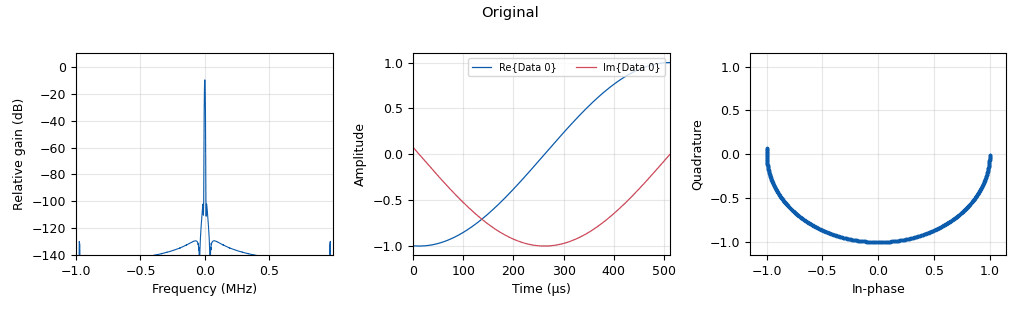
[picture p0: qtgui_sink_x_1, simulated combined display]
<?xml version='1.0' encoding='utf-8'?>
<?grc format='1' created='3.7.10'?>
<flow_graph>
<block>
<key>options</key>
<param><key>id</key><value>test</value></param>
<param><key>category</key><value>Custom</value></param>
<param><key>generate_options</key><value>qt_gui</value></param>
</block>
<block>
<key>variable</key>
<param><key>id</key><value>samp_rate</value></param>
<param><key>value</key><value>2000000</value></param>
</block>
<block>
<key>variable_uhd_device3</key>
<param><key>id</key><value>variable_uhd_device3_0</value></param>
<param><key>dev_addr</key><value>type=x300</value></param>
<param><key>dev_args</key><value>""</value></param>
</block>
<block>
<key>analog_sig_source_x</key>
<param><key>id</key><value>analog_sig_source_x_0</value></param>
<param><key>amp</key><value>1</value></param>
<param><key>freq</key><value>1000</value></param>
<param><key>offset</key><value>0</value></param>
<param><key>type</key><value>complex</value></param>
<param><key>samp_rate</key><value>samp_rate</value></param>
<param><key>waveform</key><value>analog.GR_COS_WAVE</value></param>
</block>
<block>
<key>blocks_null_sink</key>
<param><key>id</key><value>blocks_null_sink_0</value></param>
<param><key>bus_conns</key><value>[[0,],]</value></param>
<param><key>_enabled</key><value>0</value></param>
<param><key>type</key><value>complex</value></param>
</block>
<block>
<key>qtgui_sink_x</key>
<param><key>id</key><value>qtgui_sink_x_0</value></param>
<param><key>bw</key><value>samp_rate</value></param>
<param><key>fc</key><value>0</value></param>
<param><key>freqchangevar</key><value>None</value></param>
<param><key>fftsize</key><value>1024</value></param>
<param><key>name</key><value>"Copy"</value></param>
<param><key>showports</key><value>True</value></param>
<param><key>type</key><value>complex</value></param>
<param><key>wintype</key><value>firdes.WIN_BLACKMAN_hARRIS</value></param>
</block>
<block>
<key>qtgui_sink_x</key>
<param><key>id</key><value>qtgui_sink_x_1</value></param>
<param><key>bw</key><value>samp_rate</value></param>
<param><key>fc</key><value>0</value></param>
<param><key>freqchangevar</key><value>None</value></param>
<param><key>fftsize</key><value>1024</value></param>
<param><key>name</key><value>"Original"</value></param>
<param><key>showports</key><value>True</value></param>
<param><key>type</key><value>complex</value></param>
<param><key>wintype</key><value>firdes.WIN_BLACKMAN_hARRIS</value></param>
</block>
<block>
<key>rfnoc_example_copy</key>
<param><key>id</key><value>rfnoc_example_copy_0</value></param>
<param><key>block_index</key><value>-1</value></param>
<param><key>otw</key><value>sc16</value></param>
<param><key>device_index</key><value>-1</value></param>
<param><key>device3</key><value>variable_uhd_device3_0</value></param>
<param><key>grvlen</key><value>1</value></param>
<param><key>type</key><value>fc32</value></param>
</block>
<block>
<key>uhd_rfnoc_streamer_fft</key>
<param><key>id</key><value>uhd_rfnoc_streamer_fft_0</value></param>
<param><key>device_index</key><value>-1</value></param>
<param><key>_enabled</key><value>0</value></param>
<param><key>magnitude_out</key><value>"COMPLEX"</value></param>
<param><key>block_index</key><value>-1</value></param>
<param><key>fft_size</key><value></value></param>
</block>
<block>
<key>uhd_rfnoc_streamer_fifo</key>
<param><key>id</key><value>uhd_rfnoc_streamer_fifo_0</value></param>
<param><key>otw</key><value>sc16</value></param>
<param><key>device_index</key><value>-1</value></param>
<param><key>block_index</key><value>0</value></param>
<param><key>grvlen</key><value>1</value></param>
<param><key>type</key><value>fc32</value></param>
</block>
<block>
<key>uhd_rfnoc_streamer_fifo</key>
<param><key>id</key><value>uhd_rfnoc_streamer_fifo_1</value></param>
<param><key>otw</key><value>sc16</value></param>
<param><key>device_index</key><value>-1</value></param>
<param><key>_enabled</key><value>0</value></param>
<param><key>block_index</key><value>-1</value></param>
<param><key>grvlen</key><value>1</value></param>
<param><key>type</key><value>fc32</value></param>
</block>
<block>
<key>uhd_rfnoc_streamer_fir</key>
<param><key>id</key><value>uhd_rfnoc_streamer_fir_0</value></param>
<param><key>device_index</key><value>-1</value></param>
<param><key>_enabled</key><value>0</value></param>
<param><key>block_index</key><value>-1</value></param>
<param><key>taps</key><value>[14614,-69849,-203468,-216117,-7860,194302,81889,-216542,-207219,195672,372287,-93615,-558778,-131378,743447,557343,-899809,-1447471,1004420,5224804,7347329,5224804,1004420,-1447471,-899809,557343,743447,-131378,-558778,-93615,372287,195672,-207219,-216542,81889,194302,-7860,-216117,-203468,-69849,14614]</value></param>
</block>
<block>
<key>uhd_rfnoc_streamer_fosphor</key>
<param><key>id</key><value>uhd_rfnoc_streamer_fosphor_0</value></param>
<param><key>alpha</key><value>65280</value></param>
<param><key>decim</key><value>max(2, int(samp_rate / (15 * 64 * fft_size)))</value></param>
<param><key>device_index</key><value>-1</value></param>
<param><key>_enabled</key><value>0</value></param>
<param><key>fft_size</key><value>fft_size</value></param>
<param><key>tdecay</key><value>16384</value></param>
<param><key>offset</key><value>0</value></param>
<param><key>trise</key><value>4096</value></param>
<param><key>scale</key><value>256</value></param>
<param><key>epsilon</key><value>1</value></param>
<param><key>block_index</key><value>-1</value></param>
</block>
<connection><source_block_id>analog_sig_source_x_0</source_block_id><sink_block_id>qtgui_sink_x_1</sink_block_id><source_key>0</source_key><sink_key>0</sink_key></connection>
<connection><source_block_id>analog_sig_source_x_0</source_block_id><sink_block_id>uhd_rfnoc_streamer_fifo_0</sink_block_id><source_key>0</source_key><sink_key>0</sink_key></connection>
<connection><source_block_id>rfnoc_example_copy_0</source_block_id><sink_block_id>blocks_null_sink_0</sink_block_id><source_key>0</source_key><sink_key>0</sink_key></connection>
<connection><source_block_id>rfnoc_example_copy_0</source_block_id><sink_block_id>qtgui_sink_x_0</sink_block_id><source_key>0</source_key><sink_key>0</sink_key></connection>
<connection><source_block_id>uhd_rfnoc_streamer_fifo_0</source_block_id><sink_block_id>rfnoc_example_copy_0</sink_block_id><source_key>0</source_key><sink_key>0</sink_key></connection>
</flow_graph>
